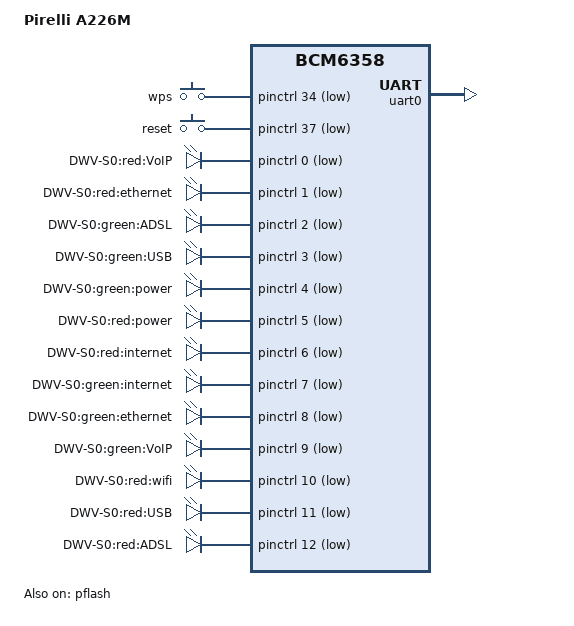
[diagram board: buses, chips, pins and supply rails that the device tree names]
/dts-v1/;

#include "bcm6358.dtsi"

#include <dt-bindings/input/input.h>

/ {
	model = "Pirelli A226M";
	compatible = "pirelli,a226m", "brcm,bcm6358";

	chosen {
		bootargs = "root=/dev/mtdblock2 rootfstype=squashfs,jffs2 noinitrd console=ttyS0,115200";
		stdout-path = "serial0:115200n8";
	};

	gpio-keys-polled {
		compatible = "gpio-keys-polled";
		#address-cells = <1>;
		#size-cells = <0>;
		poll-interval = <20>;
		debounce-interval = <60>;

		wps {
			label = "wps";
			gpios = <&pinctrl 34 1>;
			linux,code = <KEY_WPS_BUTTON>;
		};
		reset {
			label = "reset";
			gpios = <&pinctrl 37 1>;
			linux,code = <KEY_RESTART>;
		};
	};

	gpio-leds {
		compatible = "gpio-leds";

		voip_red {
			label = "DWV-S0:red:VoIP";
			gpios = <&pinctrl 0 1>;
		};
		eth_red {
			label = "DWV-S0:red:ethernet";
			gpios = <&pinctrl 1 1>;
		};
		dsl_green {
			label = "DWV-S0:green:ADSL";
			gpios = <&pinctrl 2 1>;
		};
		usb_green {
			label = "DWV-S0:green:USB";
			gpios = <&pinctrl 3 1>;
		};
		power_green {
			label = "DWV-S0:green:power";
			gpios = <&pinctrl 4 1>;
			default-state = "on";
		};
		power_red {
			label = "DWV-S0:red:power";
			gpios = <&pinctrl 5 1>;
		};
		inet_red {
			label = "DWV-S0:red:internet";
			gpios = <&pinctrl 6 1>;
		};
		inet_green {
			label = "DWV-S0:green:internet";
			gpios = <&pinctrl 7 1>;
		};
		eth_green {
			label = "DWV-S0:green:ethernet";
			gpios = <&pinctrl 8 1>;
		};
		voip_green {
			label = "DWV-S0:green:VoIP";
			gpios = <&pinctrl 9 1>;
		};
		wifi_red {
			label = "DWV-S0:red:wifi";
			gpios = <&pinctrl 10 1>;
		};
		usb_red {
			label = "DWV-S0:red:USB";
			gpios = <&pinctrl 11 1>;
		};
		dsl_red {
			label = "DWV-S0:red:ADSL";
			gpios = <&pinctrl 12 1>;
		};
	};
};

&pflash {
	status = "ok";

	linux,part-probe = "bcm63xxpart";

	cfe@0 {
		label = "CFE";
		reg = <0x000000 0x010000>;
		read-only;
	};

	linux@10000 {
		label = "linux";
		reg = <0x010000 0x7e0000>;
	};

	nvram@7f0000 {
		label = "nvram";
		reg = <0x7f0000 0x010000>;
	};
};

&uart0 {
	status = "ok";
};
